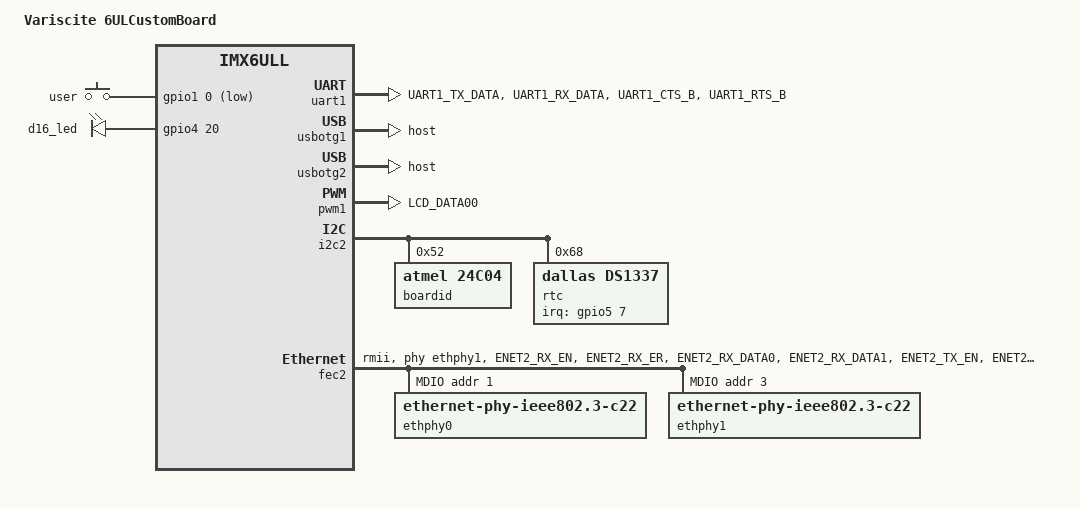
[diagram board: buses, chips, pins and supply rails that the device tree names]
/*
 * Copyright (C) 2018 Amotus Solutions, Inc.
 */

/dts-v1/;

#include "imx6ull-dart6ul.dtsi"
#include "imx6ull-dart6ul-emmc-wifi.dtsi"
#include "imx6ull-dart6ul-audio.dtsi"
#include "imx6ull-dart6ul-ethernet.dtsi"

/ {
	model = "Variscite 6ULCustomBoard";
	compatible = "variscite,imx6ull-dart6ul-6ulcustomboard", "fsl,imx6ull";

	chosen {
		stdout-path = &uart1;
	};

	keys {
		compatible = "gpio-keys";
		user {
			gpios = <&gpio1 0 GPIO_ACTIVE_LOW>;
			pinctrl-names = "default";
			pinctrl-0 = <&pinctrl_btn>;
			linux,code = <KEY_BACK>;
			gpio-key,wakeup;
		};
	};

	leds {
		compatible = "gpio-leds";
		d16_led {
			gpios = <&gpio4 20 GPIO_ACTIVE_HIGH>;
			pinctrl-names = "default";
			pinctrl-0 = <&pinctrl_led>;
			linux,default-trigger = "heartbeat";
		};
	};
};

/* debug uart */
&uart1 {
	pinctrl-names = "default";
	pinctrl-0 = <&pinctrl_uart1>;
	uart-has-rtscts;
	status = "okay";
};

&usbotg1 {
	dr_mode = "host";
	disable-over-current;
	status = "okay";
};

&usbotg2 {
	dr_mode = "host";
	disable-over-current;
	status = "okay";
};

&pwm1 {
	pinctrl-names = "default";
	pinctrl-0 = <&pinctrl_pwm1>;
	status = "okay";
};

/* debug uart */
&uart1 {
	pinctrl-names = "default";
	pinctrl-0 = <&pinctrl_uart1>;
	status = "okay";
};

&i2c2 {
	/* BR24G04NUX-3TTR board id */
	boardid: eeprom@52 {
		compatible = "atmel,24c04";
		pagesize = <16>;
		reg = <0x52>;
		read-only;
	};

	rtc: rtc@68 {
		compatible = "dallas,ds1337";
		reg = <0x68>;
		pinctrl-names = "default";
		pinctrl-0 = <&pinctrl_rtc>;
		interrupt-parent = <&gpio5>;
		interrupts = <7 IRQ_TYPE_EDGE_FALLING>;
	};
};

&fec1 {
	/* removed pinctrl_enet1_mdio since they conflict with eth2 */
	pinctrl-0 = <&pinctrl_enet1 &pinctrl_enet1_rst>;

	/delete-node/mdio;
};

&fec2 {
	pinctrl-names = "default";
	pinctrl-0 = <&pinctrl_enet2 &pinctrl_enet2_mdio &pinctrl_enet2_rst>;
	phy-mode = "rmii";
	phy-reset-gpios = <&gpio1 10 GPIO_ACTIVE_LOW>;
	phy-reset-duration = <100>;
	phy-handle = <&ethphy1>;
	status = "okay";

	mdio {
		#address-cells = <1>;
		#size-cells = <0>;

		/* KSZ8081RNB (SoM) */
		ethphy0: ethernet-phy@1 {
			compatible = "ethernet-phy-ieee802.3-c22";
			micrel,rmii-reference-clock-select-25-mhz;
			clocks = <&rmii_refclk>;
			clock-names = "rmii-ref";
			reg = <1>;
		};

		/* KSZ8081RNB (carrier-board) */
		ethphy1: ethernet-phy@3 {
			compatible = "ethernet-phy-ieee802.3-c22";
			micrel,rmii-reference-clock-select-25-mhz;
			clocks = <&rmii_refclk>;
			clock-names = "rmii-ref";
			reg = <3>;
		};
	};
};

&iomuxc {
	pinctrl_led: ledgrp {
		fsl,pins = <
		MX6UL_PAD_CSI_HSYNC__GPIO4_IO20		0x1b0b0
		>;
	};

	pinctrl_btn: btngrp {
		fsl,pins = <
		MX6UL_PAD_GPIO1_IO00__GPIO1_IO00	0x17059
		>;
	};

	pinctrl_pwm1: pwm1grp {
		fsl,pins = <
		MX6UL_PAD_LCD_DATA00__PWM1_OUT		0x110b0
		>;
	};

	pinctrl_uart1: uart1grp {
		fsl,pins = <
		MX6UL_PAD_UART1_TX_DATA__UART1_DCE_TX	0x1b0b1
		MX6UL_PAD_UART1_RX_DATA__UART1_DCE_RX	0x1b0b1
		MX6UL_PAD_UART1_CTS_B__UART1_DCE_CTS	0x1b0b1
		MX6UL_PAD_UART1_RTS_B__UART1_DCE_RTS	0x1b0b1
		>;
	};

	pinctrl_enet2: enet2grp {
		fsl,pins = <
		MX6UL_PAD_ENET2_RX_EN__ENET2_RX_EN	0x1b0b0
		MX6UL_PAD_ENET2_RX_ER__ENET2_RX_ER	0x1b0b0
		MX6UL_PAD_ENET2_RX_DATA0__ENET2_RDATA00	0x1b0b0
		MX6UL_PAD_ENET2_RX_DATA1__ENET2_RDATA01	0x1b0b0
		MX6UL_PAD_ENET2_TX_EN__ENET2_TX_EN	0x1b0b0
		MX6UL_PAD_ENET2_TX_DATA0__ENET2_TDATA00	0x1b0b0
		MX6UL_PAD_ENET2_TX_DATA1__ENET2_TDATA01	0x1b0b0
		MX6UL_PAD_ENET2_TX_CLK__ENET2_REF_CLK2	0x4001b031
		>;
	};

	pinctrl_enet2_mdio: mdio_enet2_grp {
		fsl,pins = <
		MX6UL_PAD_GPIO1_IO07__ENET2_MDC		0x1b0b0
		MX6UL_PAD_GPIO1_IO06__ENET2_MDIO	0x1b0b0
		>;
	};

	pinctrl_enet2_rst: enet2-rst-grp {
		fsl,pins = <
		MX6UL_PAD_JTAG_MOD__GPIO1_IO10		0x1b0b0
		>;
	};
};

&iomuxc_snvs {
	pinctrl_rtc: rtcgrp {
		fsl,pins = <
		MX6ULL_PAD_SNVS_TAMPER7__GPIO5_IO07	0x1b0b0
		>;
	};
};
